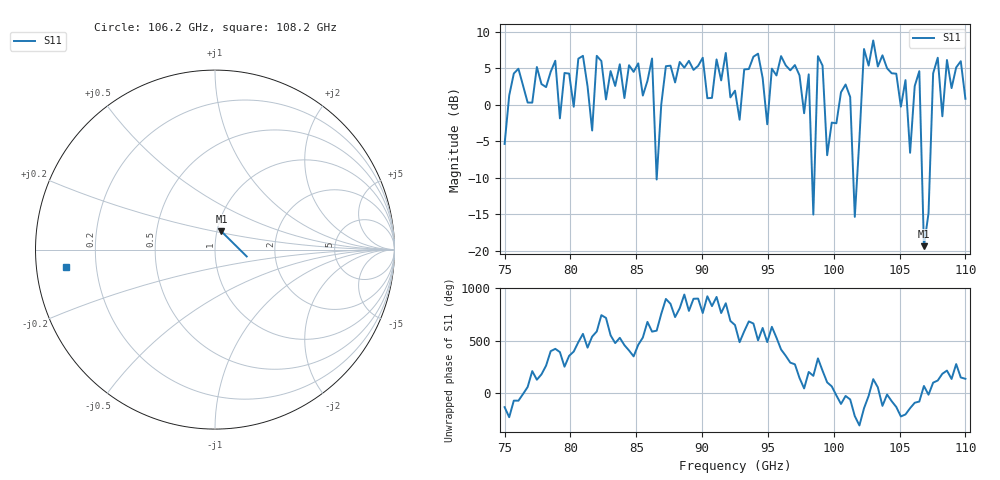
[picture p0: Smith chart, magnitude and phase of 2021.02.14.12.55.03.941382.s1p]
!Created with skrf (http://scikit-rf.org).
# GHz S RI R 50.0
!freq ReS11 ImS11
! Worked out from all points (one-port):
!   101 points, 75 GHz to 110 GHz, reference 50 ohm
!   lowest |S11| = -19.4 dB at 106.8 GHz (marker M1), VSWR 1.24, Z = 52.6 + j10.8 ohm
!   |S11| at or under -10 dB: 86.54515 GHz to 86.55781 GHz (12.66 MHz wide, 0.0146 % of centre); 98.35826 GHz to 98.5312 GHz (172.9 MHz wide, 0.176 % of centre); 106.7 GHz to 107.3 GHz (575.2 MHz wide, 0.538 % of centre) (the widest 3 of 4)
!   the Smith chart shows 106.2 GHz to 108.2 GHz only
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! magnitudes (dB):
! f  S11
! 75 GHz  -5.4
! 75.7 GHz  4.3
! 79.55 GHz  4.4
! 80.95 GHz  6.7
! 81.65 GHz  -3.5
! 82 GHz  6.7
! 83.75 GHz  5.6
! 86.2 GHz  6.4
! 86.55 GHz  -10.2
! 87.25 GHz  5.3
! 88.3 GHz  5.9
! 92.5 GHz  2.0
! 94.95 GHz  -2.7
! 97.05 GHz  5.5
! 98.1 GHz  4.2
! 98.45 GHz  -15.0
! 98.8 GHz  6.7
! 99.5 GHz  -6.9
! 101.2 GHz  1.1
! 101.6 GHz  -15.4
! 102.3 GHz  7.7
! 105.5 GHz  3.4
! 105.8 GHz  -6.6
! 106.5 GHz  4.6
! 106.8 GHz  -19.4
! 107.2 GHz  -14.9
! 107.5 GHz  4.3
! 110 GHz  0.8
